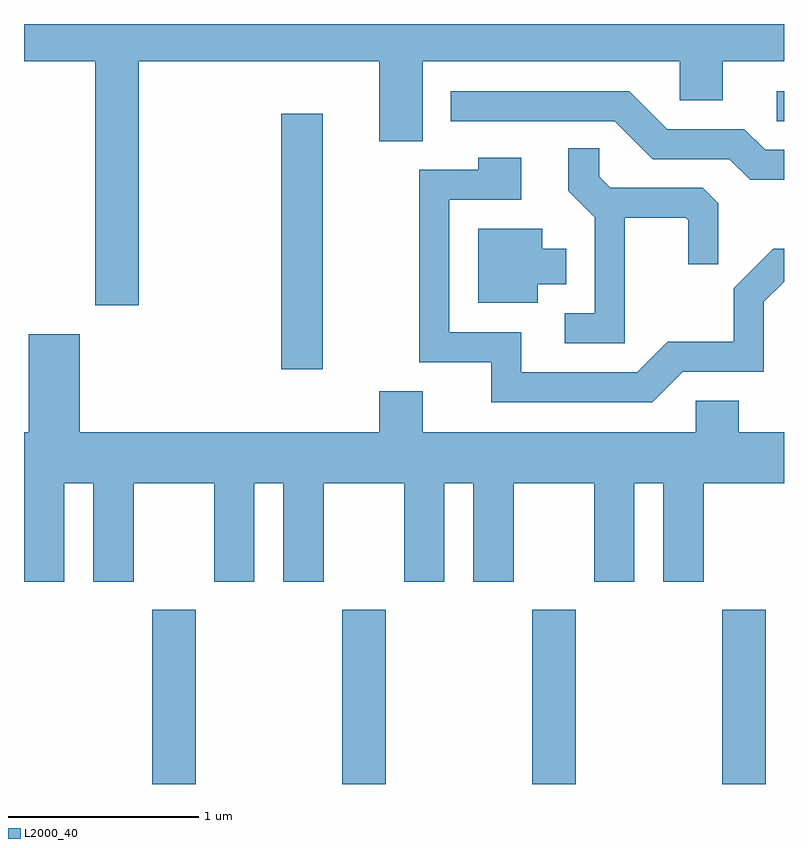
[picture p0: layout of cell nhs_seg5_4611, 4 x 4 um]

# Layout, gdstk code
import gdstk
lib = gdstk.Library(unit=1e-6, precision=1e-09)
def R(c, l, rs):  # rectangles x0, y0, x1, y1
    for r in rs: c.add(gdstk.rectangle(r[:2], r[2:], *l))
def A(c, l, x, y, w, h, nx, ny, dx, dy):  # array of equal rectangles
    R(c, l, [(x+i*dx, y+j*dy, x+i*dx+w, y+j*dy+h) for i in range(nx) for j in range(ny)])
def P(c, l, *ps):  # polygons
    for p in ps: c.add(gdstk.Polygon(p, *l))
L2000_40 = (2000, 40)

nhs_seg5_4611 = lib.new_cell('nhs_seg5_4611')
A(nhs_seg5_4611, L2000_40, 322.286, 1484.072, 0.228, 0.917, 4, 1, 1, 0)
R(nhs_seg5_4611, L2000_40, [(322.966,1486.256,323.184,1487.599), (325.573,1487.561,325.611,1487.719)])
P(nhs_seg5_4611, L2000_40, [(322.214,1487.876),(323.481,1487.876),(323.481,1487.456),(323.709,1487.456),(323.709,1487.876),(325.061,1487.876),(325.061,1487.671),(325.289,1487.671),(325.289,1487.876),(325.611,1487.876),(325.611,1488.072),(321.611,1488.072),(321.611,1487.876),(321.986,1487.876),(321.986,1486.591),(322.214,1486.591)],
  [(325.611,1487.409),(325.512,1487.409),(325.402,1487.519),(324.997,1487.519),(324.797,1487.719),(323.858,1487.719),(323.858,1487.561),(324.719,1487.561),(324.919,1487.361),(325.324,1487.361),(325.434,1487.251),(325.611,1487.251)],
  [(324.774,1487.051),(325.094,1487.051),(325.106,1487.039),(325.106,1486.808),(325.264,1486.808),(325.264,1487.129),(325.184,1487.209),(324.697,1487.209),(324.639,1487.267),(324.639,1487.418),(324.476,1487.418),(324.476,1487.194),(324.616,1487.054),(324.616,1486.549),(324.458,1486.549),(324.458,1486.391),(324.774,1486.391)],
  [(325.077,1486.241),(325.504,1486.241),(325.504,1486.609),(325.611,1486.715),(325.611,1486.889),(325.554,1486.889),(325.346,1486.682),(325.346,1486.399),(324.999,1486.399),(324.839,1486.239),(324.229,1486.239),(324.229,1486.449),(323.849,1486.449),(323.849,1487.146),(324.229,1487.146),(324.229,1487.369),(324.001,1487.369),(324.001,1487.304),(323.691,1487.304),(323.691,1486.291),(324.071,1486.291),(324.071,1486.081),(324.917,1486.081)],
  [(324.314,1486.701),(324.464,1486.701),(324.464,1486.889),(324.339,1486.889),(324.339,1486.994),(324.001,1486.994),(324.001,1486.606),(324.314,1486.606)],
  [(321.824,1485.656),(321.976,1485.656),(321.976,1485.136),(322.189,1485.136),(322.189,1485.656),(322.611,1485.656),(322.611,1485.136),(322.824,1485.136),(322.824,1485.656),(322.976,1485.656),(322.976,1485.136),(323.189,1485.136),(323.189,1485.656),(323.611,1485.656),(323.611,1485.136),(323.824,1485.136),(323.824,1485.656),(323.976,1485.656),(323.976,1485.136),(324.189,1485.136),(324.189,1485.656),(324.611,1485.656),(324.611,1485.136),(324.824,1485.136),(324.824,1485.656),(324.976,1485.656),(324.976,1485.136),(325.189,1485.136),(325.189,1485.656),(325.611,1485.656),(325.611,1485.924),(325.374,1485.924),(325.374,1486.089),(325.146,1486.089),(325.146,1485.924),(323.709,1485.924),(323.709,1486.139),(323.481,1486.139),(323.481,1485.924),(321.904,1485.924),(321.904,1486.439),(321.636,1486.439),(321.636,1485.924),(321.611,1485.924),(321.611,1485.136),(321.824,1485.136)])

lib.write_gds('nhs_seg5_4611.gds')
